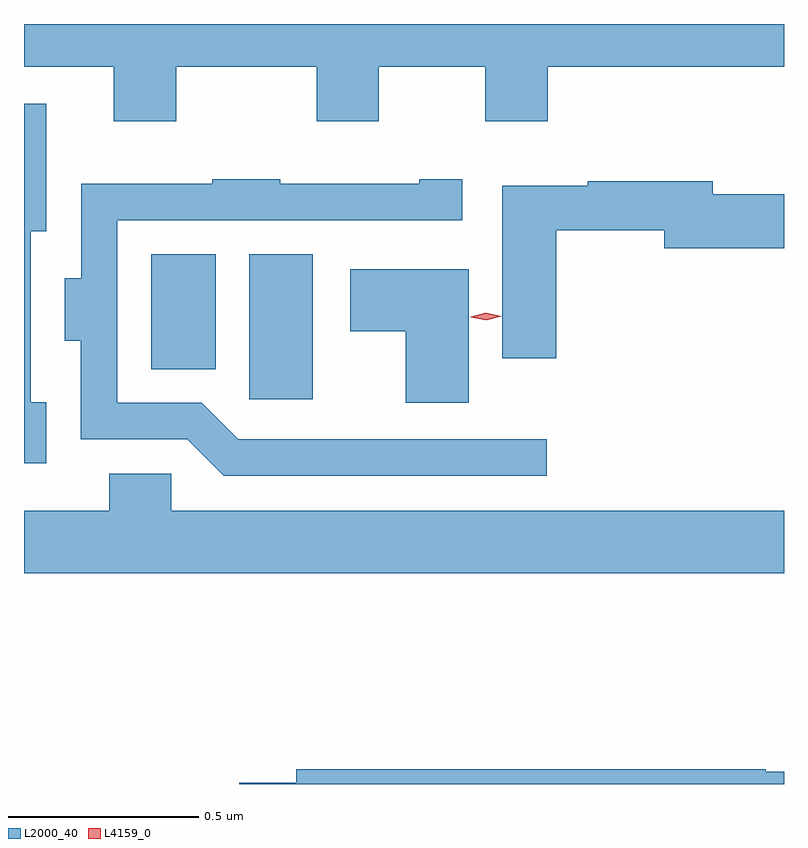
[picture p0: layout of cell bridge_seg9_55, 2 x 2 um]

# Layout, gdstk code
import gdstk
lib = gdstk.Library(unit=1e-6, precision=1e-09)
def R(c, l, rs):  # rectangles x0, y0, x1, y1
    for r in rs: c.add(gdstk.rectangle(r[:2], r[2:], *l))
def P(c, l, *ps):  # polygons
    for p in ps: c.add(gdstk.Polygon(p, *l))
L2000_40 = (2000, 40)
L4159_0 = (4159, 0)

bridge_seg9_55 = lib.new_cell('bridge_seg9_55')
R(bridge_seg9_55, L2000_40, [(1098.65,1206.201,1098.817,1206.583), (1098.392,1206.281,1098.562,1206.583)])
P(bridge_seg9_55, L2000_40, [(1098.457,1207.076),(1098.827,1207.076),(1098.827,1206.933),(1098.991,1206.933),(1098.991,1207.076),(1099.271,1207.076),(1099.271,1206.933),(1099.435,1206.933),(1099.435,1207.076),(1100.057,1207.076),(1100.057,1207.189),(1098.057,1207.189),(1098.057,1207.076),(1098.293,1207.076),(1098.293,1206.933),(1098.457,1206.933)],
  [(1098.115,1206.193),(1098.075,1206.193),(1098.075,1206.644),(1098.115,1206.644),(1098.115,1206.979),(1098.057,1206.979),(1098.057,1206.033),(1098.115,1206.033)],
  [(1099.432,1206.096),(1098.621,1206.096),(1098.525,1206.192),(1098.303,1206.192),(1098.303,1206.672),(1099.21,1206.672),(1099.21,1206.781),(1099.097,1206.781),(1099.097,1206.769),(1098.731,1206.769),(1098.731,1206.781),(1098.553,1206.781),(1098.553,1206.769),(1098.207,1206.769),(1098.207,1206.52),(1098.164,1206.52),(1098.164,1206.356),(1098.206,1206.356),(1098.206,1206.096),(1098.486,1206.096),(1098.582,1206),(1099.432,1206)],
  [(1099.457,1206.646),(1099.742,1206.646),(1099.742,1206.599),(1100.057,1206.599),(1100.057,1206.741),(1099.87,1206.741),(1099.87,1206.775),(1099.54,1206.775),(1099.54,1206.763),(1099.316,1206.763),(1099.316,1206.309),(1099.457,1206.309)],
  [(1099.228,1206.544),(1098.915,1206.544),(1098.915,1206.38),(1099.061,1206.38),(1099.061,1206.192),(1099.228,1206.192)],
  [(1100.057,1205.908),(1098.444,1205.908),(1098.444,1206.006),(1098.281,1206.006),(1098.281,1205.908),(1098.057,1205.908),(1098.057,1205.744),(1100.057,1205.744)],
  [(1100.057,1205.221),(1100.009,1205.221),(1100.009,1205.228),(1098.773,1205.228),(1098.773,1205.192),(1098.624,1205.192),(1098.624,1205.189),(1100.057,1205.189)])
P(bridge_seg9_55, L4159_0, [(1099.273,1206.409),(1099.232,1206.417),(1099.232,1206.417),(1099.232,1206.418),(1099.272,1206.429),(1099.314,1206.42),(1099.314,1206.42),(1099.314,1206.42)])

lib.write_gds('bridge_seg9_55.gds')
